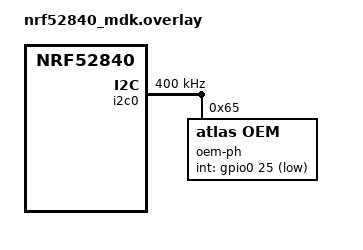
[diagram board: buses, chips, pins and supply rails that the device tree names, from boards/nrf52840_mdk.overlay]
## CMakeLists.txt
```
#
#  Copyright (c) 2023 Igor Knippenberg <igor.knippenberg@gmail.com>
#
#  SPDX-License-Identifier: Apache-2.0

cmake_minimum_required(VERSION 3.20.0)
find_package(Zephyr REQUIRED HINTS $ENV{ZEPHYR_BASE})
project(atlas_scientific_oem)

FILE(GLOB app_sources src/*.c)
target_sources(app PRIVATE ${app_sources})
```

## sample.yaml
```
sample:
  name: atlas_scientific_oem sample
  description: Atlas Scientific OEM sample application
tests:
  sample.sensor.atlas_scientific_oem:
    harness: sensor
    tags: sensors
    platform_allow: nrf52840_mdk
    integration_platforms:
      - nrf52840_mdk
```

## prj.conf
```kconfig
CONFIG_LOG=y
CONFIG_I2C=y
CONFIG_SENSOR=y
CONFIG_PM_DEVICE=n
CONFIG_NEWLIB_LIBC=y
CONFIG_NEWLIB_LIBC_FLOAT_PRINTF=y

CONFIG_ATLAS_SCIENTIFIC_OEM_TRIGGER_GLOBAL_THREAD=n
```

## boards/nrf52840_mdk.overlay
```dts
/*
 * Copyright (c) 2023 Igor Knippenberg <igor.knippenberg@gmail.com>
 *
 * SPDX-License-Identifier: Apache-2.0
 */

&i2c0 {
	clock-frequency = <I2C_BITRATE_FAST>;
	oem-ph@65 {
		compatible = "atlas,oem";
		reg = <0x65>;
		int-gpios = <&gpio0 25 GPIO_ACTIVE_LOW>;
		sensor-type = "ph";
	};

	// oem-orp@66 {
	// 	compatible = "atlas-scientific,oem";
	// 	reg = <0x66>;
	// 	int-gpios = <&gpio0 20 GPIO_ACTIVE_LOW>;

	// 	sensor-type = "orp";
	// };

	// oem-do@67 {
	// 	compatible = "atlas-scientific,oem";
	// 	reg = <0x67>;
	// 	int-gpios = <&gpio0 20 GPIO_ACTIVE_LOW>;

	// 	sensor-type = "do";
	// };

	// oem-ec@64 {
	// 	compatible = "atlas-scientific,oem";
	// 	reg = <0x64>;
	// 	int-gpios = <&gpio0 20 GPIO_ACTIVE_LOW>;

	// 	sensor-type = "ec";
	// };

	// oem-rtd@68 {
	// 	compatible = "atlas-scientific,oem";
	// 	reg = <0x68>;
	// 	int-gpios = <&gpio0 20 GPIO_ACTIVE_LOW>;

	// 	sensor-type = "rtd";
	// };
};
```

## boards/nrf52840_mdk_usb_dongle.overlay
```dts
/*
 * Copyright (c) 2023 Igor Knippenberg <igor.knippenberg@gmail.com>
 *
 * SPDX-License-Identifier: Apache-2.0
 */

&i2c0 {
	clock-frequency = <I2C_BITRATE_FAST>;
	oem-ph@65 {
		compatible = "atlas,oem";
		reg = <0x65>;
		int-gpios = <&gpio0 21 GPIO_ACTIVE_LOW>;
		sensor-type = "ph";
	};

	// oem-orp@66 {
	// 	compatible = "atlas-scientific,oem";
	// 	reg = <0x66>;
	// 	int-gpios = <&gpio0 20 GPIO_ACTIVE_LOW>;

	// 	sensor-type = "orp";
	// };

	// oem-do@67 {
	// 	compatible = "atlas-scientific,oem";
	// 	reg = <0x67>;
	// 	int-gpios = <&gpio0 20 GPIO_ACTIVE_LOW>;

	// 	sensor-type = "do";
	// };

	// oem-ec@64 {
	// 	compatible = "atlas-scientific,oem";
	// 	reg = <0x64>;
	// 	int-gpios = <&gpio0 20 GPIO_ACTIVE_LOW>;

	// 	sensor-type = "ec";
	// };

	// oem-rtd@68 {
	// 	compatible = "atlas-scientific,oem";
	// 	reg = <0x68>;
	// 	int-gpios = <&gpio0 20 GPIO_ACTIVE_LOW>;

	// 	sensor-type = "rtd";
	// };
};
```

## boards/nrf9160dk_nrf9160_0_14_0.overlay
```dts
/*
 * Copyright (c) 2023 Igor Knippenberg <igor.knippenberg@gmail.com>
 *
 * SPDX-License-Identifier: Apache-2.0
 */

&i2c2 {
	clock-frequency = <I2C_BITRATE_FAST>;
	oem-ph@65 {
		compatible = "atlas,oem";
		reg = <0x65>;
		int-gpios = <&gpio0 20 GPIO_ACTIVE_LOW>;
		sensor-type = "ph";
	};

	// oem-orp@66 {
	// 	compatible = "atlas-scientific,oem";
	// 	reg = <0x66>;
	// 	int-gpios = <&gpio0 20 GPIO_ACTIVE_LOW>;

	// 	sensor-type = "orp";
	// };

	// oem-do@67 {
	// 	compatible = "atlas-scientific,oem";
	// 	reg = <0x67>;
	// 	int-gpios = <&gpio0 20 GPIO_ACTIVE_LOW>;

	// 	sensor-type = "do";
	// };

	// oem-ec@64 {
	// 	compatible = "atlas-scientific,oem";
	// 	reg = <0x64>;
	// 	int-gpios = <&gpio0 20 GPIO_ACTIVE_LOW>;

	// 	sensor-type = "ec";
	// };

	// oem-rtd@68 {
	// 	compatible = "atlas-scientific,oem";
	// 	reg = <0x68>;
	// 	int-gpios = <&gpio0 20 GPIO_ACTIVE_LOW>;

	// 	sensor-type = "rtd";
	// };
};
```

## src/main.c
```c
/*
 * Copyright (c) 2023 Igor Knippenberg <igor.knippenberg@gmail.com>
 *
 * SPDX-License-Identifier: Apache-2.0
 */

#include <zephyr/kernel.h>
#include <zephyr/device.h>
#include <zephyr/sys/util.h>
#include <zephyr/drivers/sensor.h>
#include <zephyr/drivers/sensor/atlas_scientific_oem.h>
#include <stdio.h>

#define CH_BUF_INIT(m) {},

K_SEM_DEFINE(sem, 0, 1);

#ifdef CONFIG_ATLAS_SCIENTIFIC_OEM_TRIGGER
static void trigger_handler(const struct device *dev, const struct sensor_trigger *trigger)
{
	switch (trigger->type) {
	case SENSOR_TRIG_DATA_READY:
		if (sensor_sample_fetch(dev)) {
			printk("Sample fetch error\n");
			return;
		}
		k_sem_give(&sem);
		break;
	default:
		printk("Unknown trigger\n");
	}
}
#endif

#ifdef CONFIG_PM_DEVICE
static void pm_info(enum pm_device_action action, int status)
{
	switch (action) {
	case PM_DEVICE_ACTION_RESUME:
		printk("Enter ACTIVE_STATE ");
		break;
	case PM_DEVICE_ACTION_SUSPEND:
		printk("Enter SUSPEND_STATE ");
		break;
	default:
		printk("Unknown power state");
	}

	if (status) {
		printk("Fail\n");
	} else {
		printk("Success\n");
	}
}
#endif

#define DEVICE_NODE DT_COMPAT_GET_ANY_STATUS_OKAY(atlas_oem)

int main(void)
{

	return 0;
}
```
